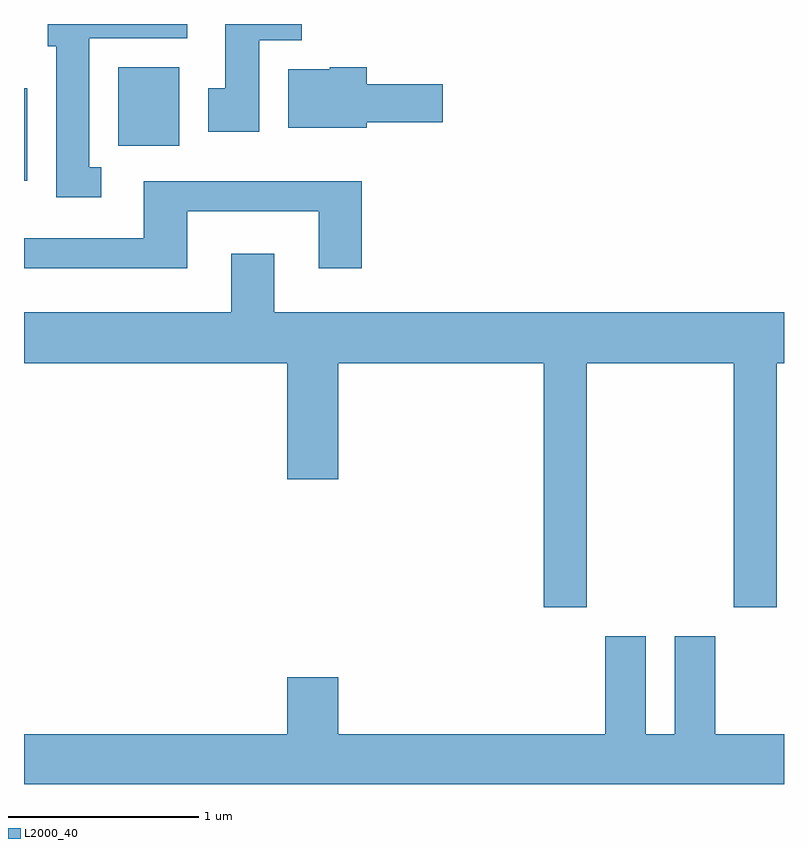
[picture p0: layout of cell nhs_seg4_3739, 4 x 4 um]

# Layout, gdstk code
import gdstk
lib = gdstk.Library(unit=1e-6, precision=1e-09)
def R(c, l, rs):  # rectangles x0, y0, x1, y1
    for r in rs: c.add(gdstk.rectangle(r[:2], r[2:], *l))
def P(c, l, *ps):  # polygons
    for p in ps: c.add(gdstk.Polygon(p, *l))
L2000_40 = (2000, 40)

nhs_seg4_3739 = lib.new_cell('nhs_seg4_3739')
R(nhs_seg4_3739, L2000_40, [(293.611,1391.156,293.629,1391.644), (294.106,1391.341,294.429,1391.754)])
P(nhs_seg4_3739, L2000_40, [(294.018,1391.229),(293.954,1391.229),(293.954,1391.906),(294.469,1391.906),(294.469,1391.982),(293.736,1391.982),(293.736,1391.866),(293.781,1391.866),(293.781,1391.071),(294.018,1391.071)],
  [(294.849,1391.896),(295.074,1391.896),(295.074,1391.982),(294.671,1391.982),(294.671,1391.644),(294.581,1391.644),(294.581,1391.416),(294.849,1391.416)],
  [(295.414,1391.466),(295.814,1391.466),(295.814,1391.664),(295.414,1391.664),(295.414,1391.754),(295.22,1391.754),(295.22,1391.744),(295.001,1391.744),(295.001,1391.436),(295.414,1391.436)],
  [(294.469,1390.996),(295.161,1390.996),(295.161,1390.696),(295.389,1390.696),(295.389,1391.154),(294.241,1391.154),(294.241,1390.854),(293.611,1390.854),(293.611,1390.696),(294.469,1390.696)],
  [(296.574,1390.196),(297.346,1390.196),(297.346,1388.911),(297.574,1388.911),(297.574,1390.196),(297.611,1390.196),(297.611,1390.464),(294.929,1390.464),(294.929,1390.774),(294.701,1390.774),(294.701,1390.464),(293.611,1390.464),(293.611,1390.196),(294.996,1390.196),(294.996,1389.586),(295.264,1389.586),(295.264,1390.196),(296.346,1390.196),(296.346,1388.911),(296.574,1388.911)],
  [(297.611,1388.244),(297.249,1388.244),(297.249,1388.759),(297.036,1388.759),(297.036,1388.244),(296.884,1388.244),(296.884,1388.759),(296.671,1388.759),(296.671,1388.244),(295.264,1388.244),(295.264,1388.544),(294.996,1388.544),(294.996,1388.244),(293.611,1388.244),(293.611,1387.982),(297.611,1387.982)])

lib.write_gds('nhs_seg4_3739.gds')
